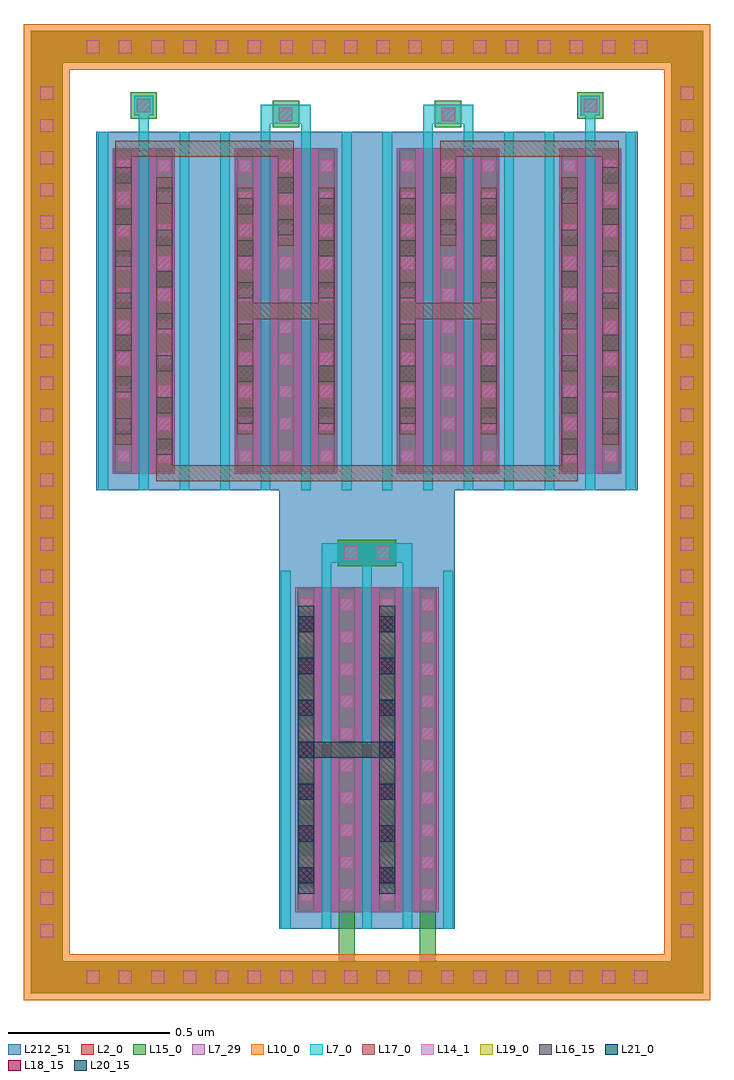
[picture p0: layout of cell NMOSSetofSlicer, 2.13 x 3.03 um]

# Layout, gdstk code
import gdstk
lib = gdstk.Library(unit=1e-6, precision=1e-09)
def R(c, l, rs):  # rectangles x0, y0, x1, y1
    for r in rs: c.add(gdstk.rectangle(r[:2], r[2:], *l))
def A(c, l, x, y, w, h, nx, ny, dx, dy):  # array of equal rectangles
    R(c, l, [(x+i*dx, y+j*dy, x+i*dx+w, y+j*dy+h) for i in range(nx) for j in range(ny)])
L2_0 = (2, 0)
L7_0 = (7, 0)
L7_29 = (7, 29)
L10_0 = (10, 0)
L14_1 = (14, 1)
L15_0 = (15, 0)
L16_15 = (16, 15)
L17_0 = (17, 0)
L18_15 = (18, 15)
L19_0 = (19, 0)
L20_15 = (20, 15)
L21_0 = (21, 0)
L212_51 = (212, 51)

nmos1innmossetofslicer = lib.new_cell('NMOS1InNMOSSetofSlicer')
R(nmos1innmossetofslicer, L2_0, [(-0.091,-0.5,0.091,0.5)])
A(nmos1innmossetofslicer, L7_0, -0.141, -0.556, 0.03, 1.112, 3, 1, 0.126, 0)
R(nmos1innmossetofslicer, L7_29, [(-0.096,-0.505,0.096,0.505)])
A(nmos1innmossetofslicer, L14_1, -0.083, -0.47, 0.04, 0.04, 1, 10, 0, 0.1)
A(nmos1innmossetofslicer, L14_1, 0.043, -0.47, 0.04, 0.04, 1, 10, 0, 0.1)
R(nmos1innmossetofslicer, L15_0, [(-0.088,-0.5,-0.038,0.5), (0.038,-0.5,0.088,0.5)])
R(nmos1innmossetofslicer, L212_51, [(-0.147,-0.556,0.147,0.556)])

nmos2innmossetofslicer = lib.new_cell('NMOS2InNMOSSetofSlicer')
R(nmos2innmossetofslicer, L2_0, [(-0.091,-0.5,0.091,0.5)])
A(nmos2innmossetofslicer, L7_0, -0.141, -0.556, 0.03, 1.112, 3, 1, 0.126, 0)
R(nmos2innmossetofslicer, L7_29, [(-0.096,-0.505,0.096,0.505)])
A(nmos2innmossetofslicer, L14_1, -0.083, -0.47, 0.04, 0.04, 1, 10, 0, 0.1)
A(nmos2innmossetofslicer, L14_1, 0.043, -0.47, 0.04, 0.04, 1, 10, 0, 0.1)
R(nmos2innmossetofslicer, L15_0, [(-0.088,-0.5,-0.038,0.5), (0.038,-0.5,0.088,0.5)])
R(nmos2innmossetofslicer, L212_51, [(-0.147,-0.556,0.147,0.556)])

nmos3innmossetofslicer = lib.new_cell('NMOS3InNMOSSetofSlicer')
R(nmos3innmossetofslicer, L2_0, [(-0.154,-0.5,0.154,0.5)])
A(nmos3innmossetofslicer, L7_0, -0.204, -0.556, 0.03, 1.112, 4, 1, 0.126, 0)
R(nmos3innmossetofslicer, L7_29, [(-0.159,-0.505,0.159,0.505)])
A(nmos3innmossetofslicer, L14_1, -0.146, -0.47, 0.04, 0.04, 3, 10, 0.126, 0.1)
A(nmos3innmossetofslicer, L15_0, -0.151, -0.5, 0.05, 1, 3, 1, 0.126, 0)
R(nmos3innmossetofslicer, L212_51, [(-0.21,-0.556,0.21,0.556)])

nmos4innmossetofslicer = lib.new_cell('NMOS4InNMOSSetofSlicer')
R(nmos4innmossetofslicer, L2_0, [(-0.154,-0.5,0.154,0.5)])
A(nmos4innmossetofslicer, L7_0, -0.204, -0.556, 0.03, 1.112, 4, 1, 0.126, 0)
R(nmos4innmossetofslicer, L7_29, [(-0.159,-0.505,0.159,0.505)])
A(nmos4innmossetofslicer, L14_1, -0.146, -0.47, 0.04, 0.04, 3, 10, 0.126, 0.1)
A(nmos4innmossetofslicer, L15_0, -0.151, -0.5, 0.05, 1, 3, 1, 0.126, 0)
R(nmos4innmossetofslicer, L212_51, [(-0.21,-0.556,0.21,0.556)])

nmos5innmossetofslicer = lib.new_cell('NMOS5InNMOSSetofSlicer')
R(nmos5innmossetofslicer, L2_0, [(-0.217,-0.5,0.217,0.5)])
A(nmos5innmossetofslicer, L7_0, -0.267, -0.556, 0.03, 1.112, 5, 1, 0.126, 0)
R(nmos5innmossetofslicer, L7_29, [(-0.222,-0.505,0.222,0.505)])
A(nmos5innmossetofslicer, L14_1, -0.209, -0.47, 0.04, 0.04, 4, 10, 0.126, 0.1)
A(nmos5innmossetofslicer, L15_0, -0.214, -0.5, 0.05, 1, 4, 1, 0.126, 0)
R(nmos5innmossetofslicer, L212_51, [(-0.273,-0.556,0.273,0.556)])

viamet22met3onpmosoutput = lib.new_cell('ViaMet22Met3OnPMOSOutputIn5NMOSSetofSlicer')
R(viamet22met3onpmosoutput, L17_0, [(-0.025,-0.447,0.025,0.447)])
A(viamet22met3onpmosoutput, L18_15, -0.025, -0.415, 0.05, 0.05, 1, 7, 0, 0.13)
R(viamet22met3onpmosoutput, L19_0, [(-0.025,-0.447,0.025,0.447)])

viamet32met4onpmosoutput = lib.new_cell('ViaMet32Met4OnPMOSOutputIn5NMOSSetofSlicer')
R(viamet32met4onpmosoutput, L19_0, [(-0.025,-0.447,0.025,0.447)])
A(viamet32met4onpmosoutput, L20_15, -0.025, -0.415, 0.05, 0.05, 1, 7, 0, 0.13)
R(viamet32met4onpmosoutput, L21_0, [(-0.025,-0.447,0.025,0.447)])

additionalviamet12met2on = lib.new_cell('AdditionalViaMet12Met2OnPMOSOutputIn3NMOSSetofSlicer')
R(additionalviamet12met2on, L15_0, [(-0.025,-0.122,0.025,0.122)])
R(additionalviamet12met2on, L16_15, [(-0.025,-0.09,0.025,-0.04), (-0.025,0.04,0.025,0.09)])
R(additionalviamet12met2on, L17_0, [(-0.025,-0.122,0.025,0.122)])

viapoly2met1onnmosgate4i = lib.new_cell('ViaPoly2Met1OnNMOSGate4InNMOSSetofSlicer')
R(viapoly2met1onnmosgate4i, L7_0, [(-0.03,-0.03,0.03,0.03)])
R(viapoly2met1onnmosgate4i, L14_1, [(-0.02,-0.02,0.02,0.02)])
R(viapoly2met1onnmosgate4i, L15_0, [(-0.041,-0.041,0.041,0.041)])

viapoly2met1onnmosgate5i = lib.new_cell('ViaPoly2Met1OnNMOSGate5InNMOSSetofSlicer')
R(viapoly2met1onnmosgate5i, L7_0, [(-0.08,-0.03,0.08,0.03)])
R(viapoly2met1onnmosgate5i, L14_1, [(-0.07,-0.02,-0.03,0.02), (0.03,-0.02,0.07,0.02)])
R(viapoly2met1onnmosgate5i, L15_0, [(-0.091,-0.041,0.091,0.041)])

viapoly2met1onnmosgate1i = lib.new_cell('ViaPoly2Met1OnNMOSGate1InNMOSSetofSlicer')
R(viapoly2met1onnmosgate1i, L7_0, [(-0.03,-0.03,0.03,0.03)])
R(viapoly2met1onnmosgate1i, L14_1, [(-0.02,-0.02,0.02,0.02)])
R(viapoly2met1onnmosgate1i, L15_0, [(-0.041,-0.041,0.041,0.041)])

viapoly2met1onnmosgate2i = lib.new_cell('ViaPoly2Met1OnNMOSGate2InNMOSSetofSlicer')
R(viapoly2met1onnmosgate2i, L7_0, [(-0.03,-0.03,0.03,0.03)])
R(viapoly2met1onnmosgate2i, L14_1, [(-0.02,-0.02,0.02,0.02)])
R(viapoly2met1onnmosgate2i, L15_0, [(-0.041,-0.041,0.041,0.041)])

viapoly2met1onnmosgate3i = lib.new_cell('ViaPoly2Met1OnNMOSGate3InNMOSSetofSlicer')
R(viapoly2met1onnmosgate3i, L7_0, [(-0.03,-0.03,0.03,0.03)])
R(viapoly2met1onnmosgate3i, L14_1, [(-0.02,-0.02,0.02,0.02)])
R(viapoly2met1onnmosgate3i, L15_0, [(-0.041,-0.041,0.041,0.041)])

viamet12met2onpmosoutput = lib.new_cell('ViaMet12Met2OnPMOSOutputIn3NMOSSetofSlicer')
R(viamet12met2onpmosoutput, L15_0, [(-0.025,-0.382,0.025,0.382)])
A(viamet12met2onpmosoutput, L16_15, -0.025, -0.35, 0.05, 0.05, 1, 6, 0, 0.13)
R(viamet12met2onpmosoutput, L17_0, [(-0.025,-0.382,0.025,0.382)])

c_viamet12met2onpmosoutput = lib.new_cell('ViaMet12Met2OnPMOSOutputIn5NMOSSetofSlicer')
R(c_viamet12met2onpmosoutput, L15_0, [(-0.025,-0.447,0.025,0.447)])
A(c_viamet12met2onpmosoutput, L16_15, -0.025, -0.415, 0.05, 0.05, 1, 7, 0, 0.13)
R(c_viamet12met2onpmosoutput, L17_0, [(-0.025,-0.447,0.025,0.447)])

c_viamet12met2onpmosoutput_ = lib.new_cell('ViaMet12Met2OnPMOSOutputIn1NMOSSetofSlicer')
R(c_viamet12met2onpmosoutput_, L15_0, [(-0.025,-0.447,0.025,0.447)])
A(c_viamet12met2onpmosoutput_, L16_15, -0.025, -0.415, 0.05, 0.05, 1, 7, 0, 0.13)
R(c_viamet12met2onpmosoutput_, L17_0, [(-0.025,-0.447,0.025,0.447)])

nmossetofslicer = lib.new_cell('NMOSSetofSlicer')
A(nmossetofslicer, L14_1, -0.87, -2.088, 0.04, 0.04, 18, 2, 0.1, 2.888)
A(nmossetofslicer, L14_1, -1.014, -1.944, 0.04, 0.04, 1, 27, 0, 0.1)
A(nmossetofslicer, L14_1, 0.974, -1.944, 0.04, 0.04, 1, 27, 0, 0.1)
R(nmossetofslicer, L212_51, [(-0.693,-0.556,0.693,0.556)])
nmossetofslicer.add(gdstk.FlexPath([(0.994,0.87),(0.994,-2.118)], 0.1, ends="flush", simple_path=True, layer=15, datatype=0))  # L15_0
nmossetofslicer.add(gdstk.FlexPath([(-0.994,0.87),(-0.994,-2.118)], 0.1, ends="flush", simple_path=True, layer=15, datatype=0))  # L15_0
nmossetofslicer.add(gdstk.FlexPath([(-1.044,-2.068),(1.044,-2.068)], 0.1, ends="flush", simple_path=True, layer=15, datatype=0))  # L15_0
nmossetofslicer.add(gdstk.FlexPath([(-1.044,0.82),(1.044,0.82)], 0.1, ends="flush", simple_path=True, layer=15, datatype=0))  # L15_0
nmossetofslicer.add(gdstk.FlexPath([(-1.065,0.82),(1.065,0.82)], 0.142, ends="flush", simple_path=True, layer=10, datatype=0))  # L10_0
nmossetofslicer.add(gdstk.FlexPath([(0.994,0.891),(0.994,-2.139)], 0.142, ends="flush", simple_path=True, layer=10, datatype=0))  # L10_0
nmossetofslicer.add(gdstk.FlexPath([(-0.189,-1.362),(0.063,-1.362)], 0.05, ends="flush", simple_path=True, layer=21, datatype=0))  # L21_0
nmossetofslicer.add(gdstk.FlexPath([(-1.044,0.82),(1.044,0.82)], 0.1, ends="flush", simple_path=True, layer=2, datatype=0))  # L2_0
nmossetofslicer.add(gdstk.FlexPath([(-1.044,-2.068),(1.044,-2.068)], 0.1, ends="flush", simple_path=True, layer=2, datatype=0))  # L2_0
nmossetofslicer.add(gdstk.FlexPath([(-0.994,0.87),(-0.994,-2.118)], 0.1, ends="flush", simple_path=True, layer=2, datatype=0))  # L2_0
nmossetofslicer.add(gdstk.FlexPath([(0.994,0.87),(0.994,-2.118)], 0.1, ends="flush", simple_path=True, layer=2, datatype=0))  # L2_0
nmossetofslicer.add(gdstk.FlexPath([(-0.189,-1.362),(0.063,-1.362)], 0.05, ends="flush", simple_path=True, layer=19, datatype=0))  # L19_0
nmossetofslicer.add(gdstk.FlexPath([(-0.994,0.891),(-0.994,-2.139)], 0.142, ends="flush", simple_path=True, layer=10, datatype=0))  # L10_0
nmossetofslicer.add(gdstk.FlexPath([(-0.252,0.325),(-0.252,0.504)], 0.05, ends="flush", simple_path=True, layer=17, datatype=0))  # L17_0
nmossetofslicer.add(gdstk.FlexPath([(0.252,0.325),(0.252,0.504)], 0.05, ends="flush", simple_path=True, layer=17, datatype=0))  # L17_0
nmossetofslicer.add(gdstk.FlexPath([(-0.189,-1.362),(0.063,-1.362)], 0.05, ends="flush", simple_path=True, layer=17, datatype=0))  # L17_0
nmossetofslicer.add(gdstk.FlexPath([(-0.781,0.504),(-0.227,0.504)], 0.05, ends="flush", simple_path=True, layer=17, datatype=0))  # L17_0
nmossetofslicer.add(gdstk.FlexPath([(0.781,0.504),(0.227,0.504)], 0.05, ends="flush", simple_path=True, layer=17, datatype=0))  # L17_0
nmossetofslicer.add(gdstk.FlexPath([(-0.655,-0.504),(0.655,-0.504)], 0.05, ends="flush", simple_path=True, layer=17, datatype=0))  # L17_0
nmossetofslicer.add(gdstk.FlexPath([(-0.403,0),(-0.101,0)], 0.05, ends="flush", simple_path=True, layer=17, datatype=0))  # L17_0
nmossetofslicer.add(gdstk.FlexPath([(0.101,0),(0.403,0)], 0.05, ends="flush", simple_path=True, layer=17, datatype=0))  # L17_0
nmossetofslicer.add(gdstk.FlexPath([(-1.065,-2.068),(1.065,-2.068)], 0.142, ends="flush", simple_path=True, layer=10, datatype=0))  # L10_0
nmossetofslicer.add(gdstk.FlexPath([(0,-1.362),(0,0)], 0.546, ends="flush", simple_path=True, layer=212, datatype=51))  # L212_51
nmossetofslicer.add(gdstk.FlexPath([(-0.063,-2.068),(-0.063,-1.862)], 0.05, ends="flush", simple_path=True, layer=15, datatype=0))  # L15_0
nmossetofslicer.add(gdstk.FlexPath([(0.189,-2.068),(0.189,-1.862)], 0.05, ends="flush", simple_path=True, layer=15, datatype=0))  # L15_0
nmossetofslicer.add(gdstk.FlexPath([(-0.126,-1.362),(-0.126,-0.751)], 0.03, ends="flush", simple_path=True, layer=7, datatype=0))  # L7_0
nmossetofslicer.add(gdstk.FlexPath([(0,-1.362),(0,-0.751)], 0.03, ends="flush", simple_path=True, layer=7, datatype=0))  # L7_0
nmossetofslicer.add(gdstk.FlexPath([(0.126,-1.362),(0.126,-0.751)], 0.03, ends="flush", simple_path=True, layer=7, datatype=0))  # L7_0
nmossetofslicer.add(gdstk.FlexPath([(0.189,0),(0.189,0.611)], 0.03, ends="flush", simple_path=True, layer=7, datatype=0))  # L7_0
nmossetofslicer.add(gdstk.FlexPath([(0.315,0),(0.315,0.611)], 0.03, ends="flush", simple_path=True, layer=7, datatype=0))  # L7_0
nmossetofslicer.add(gdstk.FlexPath([(-0.693,0),(-0.693,0.638)], 0.03, ends="flush", simple_path=True, layer=7, datatype=0))  # L7_0
nmossetofslicer.add(gdstk.FlexPath([(-0.315,0),(-0.315,0.611)], 0.03, ends="flush", simple_path=True, layer=7, datatype=0))  # L7_0
nmossetofslicer.add(gdstk.FlexPath([(-0.189,0),(-0.189,0.611)], 0.03, ends="flush", simple_path=True, layer=7, datatype=0))  # L7_0
nmossetofslicer.add(gdstk.FlexPath([(0.693,0),(0.693,0.638)], 0.03, ends="flush", simple_path=True, layer=7, datatype=0))  # L7_0
nmossetofslicer.add(gdstk.FlexPath([(0.33,0.611),(0.174,0.611)], 0.06, ends="flush", simple_path=True, layer=7, datatype=0))  # L7_0
nmossetofslicer.add(gdstk.FlexPath([(0.141,-0.751),(-0.141,-0.751)], 0.06, ends="flush", simple_path=True, layer=7, datatype=0))  # L7_0
nmossetofslicer.add(gdstk.FlexPath([(0.708,0.638),(0.678,0.638)], 0.06, ends="flush", simple_path=True, layer=7, datatype=0))  # L7_0
nmossetofslicer.add(gdstk.FlexPath([(-0.174,0.611),(-0.33,0.611)], 0.06, ends="flush", simple_path=True, layer=7, datatype=0))  # L7_0
nmossetofslicer.add(gdstk.FlexPath([(-0.678,0.638),(-0.708,0.638)], 0.06, ends="flush", simple_path=True, layer=7, datatype=0))  # L7_0
nmossetofslicer.add(gdstk.Reference(nmos1innmossetofslicer, (-0.693,0)))
nmossetofslicer.add(gdstk.Reference(nmos2innmossetofslicer, (0.693,0)))
nmossetofslicer.add(gdstk.Reference(nmos3innmossetofslicer, (-0.252,0)))
nmossetofslicer.add(gdstk.Reference(nmos4innmossetofslicer, (0.252,0)))
nmossetofslicer.add(gdstk.Reference(nmos5innmossetofslicer, (0,-1.362)))
nmossetofslicer.add(gdstk.Reference(viamet22met3onpmosoutput, (-0.189,-1.362)))
nmossetofslicer.add(gdstk.Reference(viamet22met3onpmosoutput, (0.063,-1.362)))
nmossetofslicer.add(gdstk.Reference(viamet32met4onpmosoutput, (-0.189,-1.362)))
nmossetofslicer.add(gdstk.Reference(viamet32met4onpmosoutput, (0.063,-1.362)))
nmossetofslicer.add(gdstk.Reference(additionalviamet12met2on, (-0.252,0.325)))
nmossetofslicer.add(gdstk.Reference(additionalviamet12met2on, (0.252,0.325)))
nmossetofslicer.add(gdstk.Reference(viapoly2met1onnmosgate4i, (0.252,0.611)))
nmossetofslicer.add(gdstk.Reference(viapoly2met1onnmosgate5i, (0,-0.751)))
nmossetofslicer.add(gdstk.Reference(viapoly2met1onnmosgate1i, (-0.693,0.638)))
nmossetofslicer.add(gdstk.Reference(viapoly2met1onnmosgate2i, (0.693,0.638)))
nmossetofslicer.add(gdstk.Reference(viapoly2met1onnmosgate3i, (-0.252,0.611)))
nmossetofslicer.add(gdstk.Reference(viamet12met2onpmosoutput, (-0.378,0)))
nmossetofslicer.add(gdstk.Reference(viamet12met2onpmosoutput, (-0.126,0)))
nmossetofslicer.add(gdstk.Reference(viamet12met2onpmosoutput, (0.126,0)))
nmossetofslicer.add(gdstk.Reference(viamet12met2onpmosoutput, (0.378,0)))
nmossetofslicer.add(gdstk.Reference(c_viamet12met2onpmosoutput, (-0.189,-1.362)))
nmossetofslicer.add(gdstk.Reference(c_viamet12met2onpmosoutput, (0.063,-1.362)))
nmossetofslicer.add(gdstk.Reference(c_viamet12met2onpmosoutput_, (-0.756,0.032)))
nmossetofslicer.add(gdstk.Reference(c_viamet12met2onpmosoutput_, (0.756,0.032)))
nmossetofslicer.add(gdstk.Reference(c_viamet12met2onpmosoutput_, (-0.63,-0.032)))
nmossetofslicer.add(gdstk.Reference(c_viamet12met2onpmosoutput_, (0.63,-0.032)))

lib.write_gds('NMOSSetofSlicer.gds')
